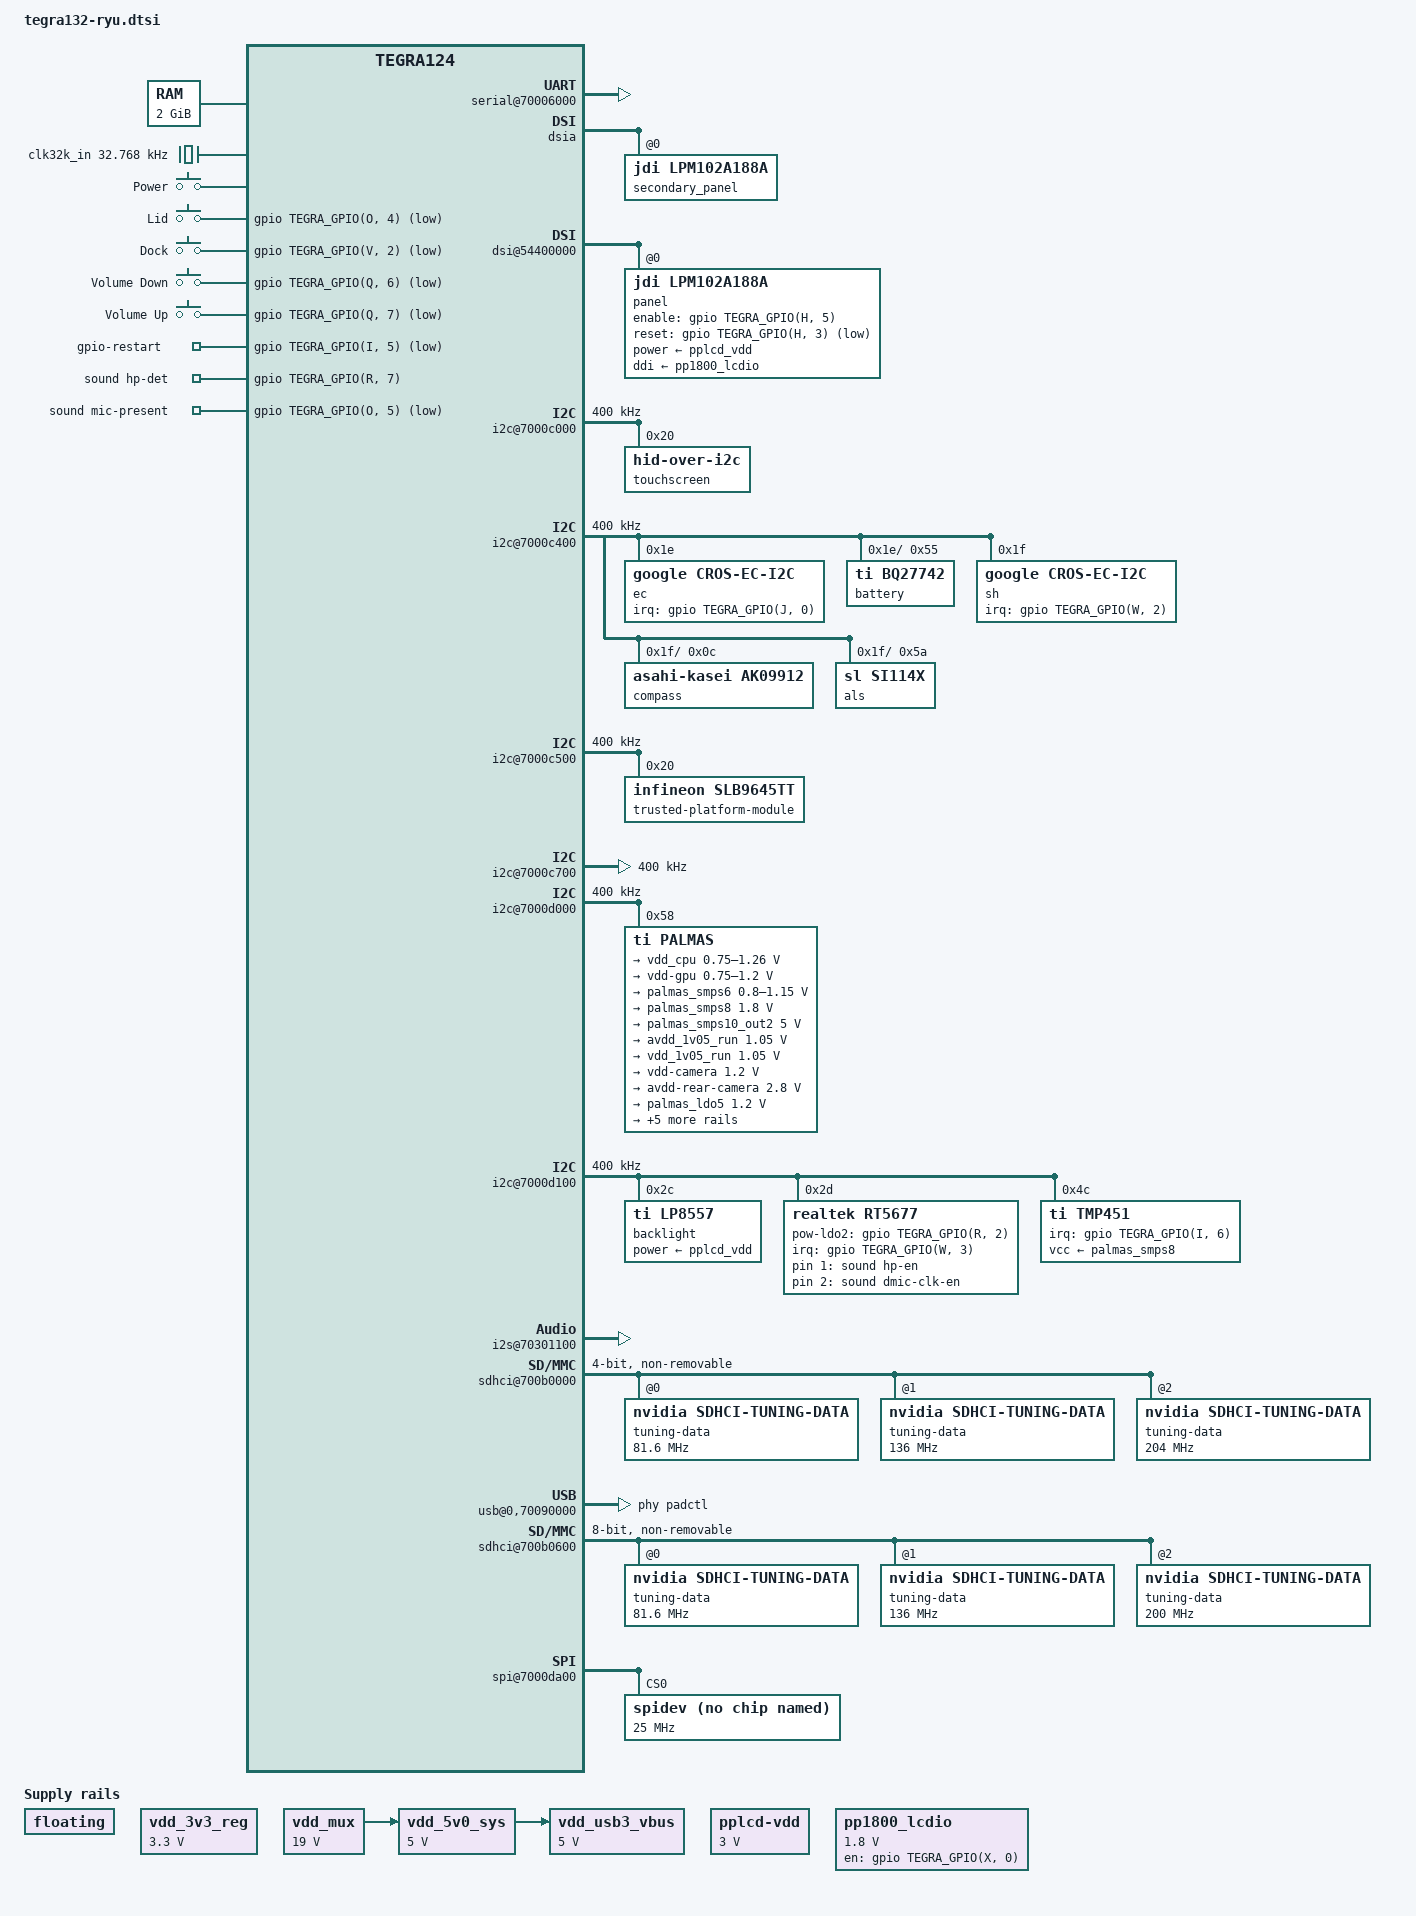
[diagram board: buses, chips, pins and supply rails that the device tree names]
#include <dt-bindings/input/input.h>
#include <dt-bindings/soc/tegra-pmc.h>
#include "tegra132.dtsi"
#include "tegra132-ryu-emc.dtsi"
#include "tegra132-ryu-gpio-default.dtsi"
#include "tegra132-ryu-pinmux.dtsi"

/ {
	compatible = "google,ryu", "nvidia,tegra132", "nvidia,tegra124";

	aliases {
		rtc0 = "/i2c@7000d000/palmas";
		rtc1 = "/rtc@7000e000";
	};

	memory {
		reg = <0x0 0x80000000 0x0 0x80000000>; /* XXX should be 4GiB */
	};

	serial@70006000 {
		status = "okay";
	};

	rtc {
		nvidia,pmc-wakeup = <&pmc
			PMC_WAKE_TYPE_EVENT 16 PMC_TRIGGER_TYPE_HIGH>;
	};

	host1x@50000000 {
		dsia: dsi@54300000 {
			status = "okay";

			secondary_panel: panel@0 {
				compatible = "jdi,lpm102a188a";

				reg = <0 0 0 0>;
			};
		};

		dsi@54400000 {
			status = "okay";
			nvidia,slave = <&dsia>;

			panel@0 {
				compatible = "jdi,lpm102a188a";

				reg = <0 0 0 0>;

				power-supply = <&pplcd_vdd>;
				ddi-supply = <&pp1800_lcdio>;

				enable-gpio = <&gpio TEGRA_GPIO(H, 5) GPIO_ACTIVE_HIGH>;
				reset-gpio = <&gpio TEGRA_GPIO(H, 3) GPIO_ACTIVE_LOW>;

				slave = <&secondary_panel>;
			};
		};
	};

	// I2C1 (GEN1_I2C)
	i2c@7000c000 {
		status = "okay";
		clock-frequency = <400000>;

		touchscreen: i2c-hid-dev@20 {
			compatible = "hid-over-i2c";
			reg = <0x20>;
			hid-descr-addr = <0x0020>;
			interrupt-parent = <&gpio>;
		};
	};

	// I2C2 (GEN2_I2C)
	i2c@7000c400 {
		status = "okay";
		clock-frequency = <400000>;

		ec: cros-ec@1e {
			compatible = "google,cros-ec-i2c";
			reg = <0x1e>;

			interrupt-parent = <&gpio>;
			interrupts = <TEGRA_GPIO(J, 0) IRQ_TYPE_LEVEL_LOW>;
			wakeup-source;

			i2c_21: i2c-tunnel {
				compatible = "google,cros-ec-i2c-tunnel";
				#address-cells = <1>;
				#size-cells = <0>;

				google,remote-bus = <0>;

				battery: bq27742@55 {
					compatible = "ti,bq27742";
					reg = <0x55>;
					battery-name = "battery";
				};
			};
		};

		sh: cros-ec@1f {
			compatible = "google,cros-ec-i2c";
			reg = <0x1f>;
			devname = "cros_sh";

			interrupt-parent = <&gpio>;
			interrupts = <TEGRA_GPIO(W, 2) IRQ_TYPE_LEVEL_LOW>;

			i2c_20: i2c-tunnel {
				compatible = "google,cros-ec-i2c-tunnel";
				#address-cells = <1>;
				#size-cells = <0>;

				google,remote-bus = <1>;

				compass: ak09912@c {
					compatible = "asahi-kasei,ak09912";
					reg = <0xc>;
				};

				als: si114x@5a {
					compatible = "sl,si114x";
					reg = <0x5a>;
				};
			};
		};
	};

	// I2C3 (CAM_I2C)
	i2c@7000c500 {
		status = "okay";
		clock-frequency = <400000>;

		trusted-platform-module {
			compatible = "infineon,slb9645tt";
			reg = <0x20>;
			powered-while-suspended;
		};
	};

	// I2C4 (HDMI_DDC)
	i2c@7000c700 {
		status = "okay";
		clock-frequency = <400000>;
	};

	// I2C5 (I2C_PMU, PWR_I2C)
	i2c@7000d000 {
		status = "okay";
		clock-frequency = <400000>;

		palmas: tps65913 {
			compatible = "ti,palmas";
			reg = <0x58>;
			interrupts = <GIC_SPI 86 IRQ_TYPE_LEVEL_LOW>;
			nvidia,pmc-wakeup = <&pmc
				PMC_WAKE_TYPE_EVENT 18 PMC_TRIGGER_TYPE_LOW>;

			#interrupt-cells = <2>;
			interrupt-controller;

			ti,system-power-controller;

			palmas_gpio: gpio {
				compatible = "ti,palmas-gpio";
				gpio-controller;
				#gpio-cells = <2>;
			};

			rtc {
				compatible = "ti,palmas-rtc";
				interrupt-parent = <&palmas>;
				interrupts = <8 0>;
			};

			pinmux {
				compatible = "ti,tps65913-pinctrl";
				pinctrl-names = "default";
				pinctrl-0 = <&palmas_default>;

				palmas_default: pinmux {
					powergood {
						pins = "powergood";
						function = "powergood";
					};

					vac {
						pins = "vac";
						function = "vac";
					};

					camera_en {
						pins = "gpio4";
						function = "gpio";
					};

					clk_mdm_32k {
						pins = "gpio5";
						function = "clk32kgaudio";
					};

					lcd_en {
						pins = "gpio6";
						function = "gpio";
					};
				};
			};

#if 0
			palmas_extcon: extcon {
				compatible = "ti,palmas-usb";
				#extcon-cells = <1>;
				ti,wakeup;
				ti,enable-id-detection;
				ti,enable-vbus-detection;
			};

			power_pm {
				compatible = "ti,palmas-pm";
				system-pmic-power-off;
				system-pmic-power-reset;
			};

			palams_gpadc: gpadc {
				compatible = "ti,palmas-gpadc";
				interrupt-parent = <&palmas>;
				interrupts = <18 0
						  16 0
						  17 0>;
				#io-channel-cells = <1>;
			};
#endif

			clock {
				compatible = "ti,palmas-clk";

				clk32k_kg {
					ti,clock-boot-enable;
				};

				clk32k_kg_audio {
					ti,clock-boot-enable;
				};
			};

			pmic {
				compatible = "ti,tps65913-pmic", "ti,palmas-pmic";
#if 0
				ldo1-in-supply = <&palmas_smps6>;
				ldo2-in-supply = <&palmas_smps6>;
				ldo5-in-supply = <&palmas_smps8>;
				ldo6-in-supply = <&palmas_smps9>;
				ldo7-in-supply = <&palmas_smps9>;
				ldo9-in-supply = <&palmas_smps9>;
				ldoln-in-supply = <&palmas_smps10_out2>;
				// TODO: From nvidia
				// 1 Program LDOUSB_OUT to 2.8V
				// 2 LDOUSB should be switched LDOUSB_IN1
#endif

				regulators {
					vdd_cpu: smps123 {
						regulator-name = "vdd_cpu";
						regulator-min-microvolt = <750000>;
						regulator-max-microvolt = <1260000>;
						regulator-always-on;
						regulator-boot-on;
						ti,roof-floor = <1>;
					};

					smps457 {
						regulator-name = "vdd-gpu";
						regulator-min-microvolt = <750000>;
						regulator-max-microvolt = <1200000>;
						regulator-init-microvolt = <1000000>;
						// TODO: driver should enable as needed
						// regulator-always-on;
						// regulator-boot-on;
					};

					palmas_smps6: smps6 {
						regulator-name = "vdd_core";
						regulator-min-microvolt = <800000>;
						regulator-max-microvolt = <1150000>;
						regulator-always-on;
						regulator-boot-on;
						ti,roof-floor = <3>;
					};

					palmas_smps8: smps8 {
						regulator-name = "vdd-1v8";
						regulator-min-microvolt = <1800000>;
						regulator-max-microvolt = <1800000>;
						regulator-always-on;
						regulator-boot-on;
					};

					palmas_smps10_out2: smps10_out2 {
						regulator-name = "vdd-out2-5v0";
						regulator-min-microvolt = <5000000>;
						regulator-max-microvolt = <5000000>;
						regulator-always-on;
						regulator-boot-on;
					};

					avdd_1v05_run: ldo1 {
						regulator-name = "avdd-pll";
						regulator-min-microvolt = <1050000>;
						regulator-max-microvolt = <1050000>;
						regulator-always-on;
						regulator-boot-on;
						ti,roof-floor = <3>;
					};

					vdd_1v05_run: ldo2 {
						regulator-name = "vdd-usb3";
						regulator-min-microvolt = <1050000>;
						regulator-max-microvolt = <1050000>;
					};

					ldo3 {
						regulator-name = "vdd-camera";
						regulator-min-microvolt = <1200000>;
						regulator-max-microvolt = <1200000>;
					};

					ldo4 {
						regulator-name = "avdd-rear-camera";
						regulator-min-microvolt = <2800000>;
						regulator-max-microvolt = <2800000>;
					};

					palmas_ldo5: ldo5 {
						regulator-name = "avdd-dsi-csi";
						regulator-min-microvolt = <1200000>;
						regulator-max-microvolt = <1200000>;
					};

					ldo6 {
						regulator-name = "vdd-fuse";
						regulator-min-microvolt = <1800000>;
						regulator-max-microvolt = <1800000>;
					};

					ldo7 {
						regulator-name = "avdd-front-camera";
						regulator-min-microvolt = <2800000>;
						regulator-max-microvolt = <2800000>;
					};

					ldo8 {
						regulator-name = "vdd-rtc";
						regulator-min-microvolt = <800000>;
						regulator-max-microvolt = <1150000>;
						regulator-always-on;
						regulator-boot-on;
					};

					palmas_ldousb: ldousb {
						regulator-name = "avdd-usb";
						regulator-always-on;
						regulator-boot-on;
					};

					regen1 {
						regulator-name = "regen1";
						regulator-always-on;
						regulator-boot-on;
					};
				};
			};
		};
	};

	// I2C6
	i2c@7000d100 {
		status = "okay";
		clock-frequency = <400000>;

		backlight: lp8557-backlight@2c {
			compatible = "ti,lp8557";
			reg = <0x2c>;

			power-supply = <&pplcd_vdd>;

			bl-name = "lp8557-backlight";
			dev-ctrl = /bits/ 8 <0x01>;
			init-brt = /bits/ 8 <0xFF>;

			/* Full scale current, 20mA */
			rom_11h {
				rom-addr = /bits/ 8 <0x11>;
				rom-val = /bits/ 8 <0x05>;
			};

			/* Frequency = 4.9kHz, magic undocumented val */
			rom_12h {
				rom-addr = /bits/ 8 <0x12>;
				rom-val = /bits/ 8 <0x29>;
			};

			/* Boost freq = 1MHz, BComp option = 1 */
			rom_13h {
				rom-addr = /bits/ 8 <0x13>;
				rom-val = /bits/ 8 <0x03>;
			};

			/* 4V OV, 6 output LED string enabled */
			rom_14h {
				rom-addr = /bits/ 8 <0x14>;
				rom-val = /bits/ 8 <0xbf>;
			};
		};

		rt5677: audio-codec@2d {
			compatible = "realtek,rt5677";
			reg = <0x2d>;
			interrupt-parent = <&gpio>;
			interrupts = <TEGRA_GPIO(W, 3) IRQ_TYPE_EDGE_BOTH>;
			realtek,pow-ldo2-gpio = <&gpio TEGRA_GPIO(R, 2) GPIO_ACTIVE_HIGH>;
			realtek,in1-differential = "true";

			gpio-controller;
			#gpio-cells = <2>;
		};

		tmp451: temperature-sensor@4c {
			compatible = "ti,tmp451";
			reg = <0x4c>;
			interrupt-parent = <&gpio>;
			interrupts = <TEGRA_GPIO(I, 6) IRQ_TYPE_LEVEL_LOW>;
			vcc-supply = <&palmas_smps8>;

			#thermal-sensor-cells = <1>;
		};
	};

	ahub@70300000 {
		i2s@70301100 {
			status = "okay";
		};
	};

	dfll@70040084 {
		vdd-cpu-supply = <&vdd_cpu>;
		nvidia,i2c-fs-rate = <400000>;
		status = "okay";
	};

	sdhci@700b0000 {
		#address-cells = <1>;
		#size-cells = <0>;

		card-reset-gpios = <&gpio TEGRA_GPIO(X, 7) GPIO_ACTIVE_LOW>;
		bus-width = <4>;
		no-1-8-v;
		non-removable;
		status = "okay";
		nvidia,host-off-card-on;
		keep-power-in-suspend;
		tap-delay = <0>;

		trim-delay = <0x2>;
		calib-3v3-offsets = <0x7676>;
		calib-1v8-offsets = <0x7676>;
		calib-1v8-offsets-uhs-modes = <0x3f>;
		max-frequency = <204000000>;

		nvidia,vmax = <1150>;
		nvidia,vmin = <950>;
		nvidia,t2t-vnom-slope = <25>;
		nvidia,t2t-vnom-int = <115933>;
		nvidia,t2t-vmax-slope = <25>;
		nvidia,t2t-vmax-int = <115933>;
		nvidia,t2t-vmin-slope = <47>;
		nvidia,t2t-vmin-int = <187224>;

		tuning-data@0 {
			compatible = "nvidia,sdhci-tuning-data";
			clock-frequency = <81600000>;
			nvidia,thole-vnom-slope = <2916>;
			nvidia,thole-vnom-int = <331143>;
			nvidia,thole-vmax-slope = <2916>;
			nvidia,thole-vmax-int = <331143>;
			nvidia,thole-vmin-slope = <1480>;
			nvidia,thole-vmin-int = <232373>;
		};
		tuning-data@1 {
			compatible = "nvidia,sdhci-tuning-data";
			clock-frequency = <136000000>;
			nvidia,thole-vnom-slope = <1554>;
			nvidia,thole-vnom-int = <167210>;
			nvidia,thole-vmax-slope = <1554>;
			nvidia,thole-vmax-int = <167210>;
			nvidia,thole-vmin-slope = <793>;
			nvidia,thole-vmin-int = <115672>;
		};
		tuning-data@2 {
			compatible = "nvidia,sdhci-tuning-data";
			clock-frequency = <204000000>;
			nvidia,thole-vnom-slope = <874>;
			nvidia,thole-vnom-int = <85243>;
			nvidia,thole-vmax-slope = <874>;
			nvidia,thole-vmax-int = <85243>;
			nvidia,thole-vmin-slope = <449>;
			nvidia,thole-vmin-int = <57321>;
		};
	};

	usb@0,70090000 {
		status = "okay";
		phys = <&padctl TEGRA_XUSB_PADCTL_UTMI_P0>, /* USB 2.0 to port */
		       <&padctl TEGRA_XUSB_PADCTL_UTMI_P2>, /* WWAN USB 2.0 */
		       <&padctl TEGRA_XUSB_PADCTL_USB3_P0>, /* 1st USB 3.0 */
		       <&padctl TEGRA_XUSB_PADCTL_USB3_P1>; /* 2nd USB 3.0 */
		phy-names = "utmi-0", "utmi-2", "usb3-0", "usb3-1";
		avddio-pex-supply = <&vdd_1v05_run>;
		dvddio-pex-supply = <&vdd_1v05_run>;
		avdd-usb-supply = <&vdd_3v3_reg>;
		avdd-pll-utmip-supply = <&palmas_smps8>;
		avdd-pll-erefe-supply = <&avdd_1v05_run>;
		avdd-pex-pll-supply = <&vdd_1v05_run>;
		hvdd-pex-supply = <&vdd_3v3_reg>;
		hvdd-pex-plle-supply = <&vdd_3v3_reg>;
	};

	padctl@0,7009f000 {
		pinctrl-0 = <&padctl_default>;
		pinctrl-1 = <&padctl_sleep>;
		pinctrl-names = "default", "sleep";

		vbus-2-supply = <&vdd_usb3_vbus>;
		nvidia,usb3-port-0-lane = <TEGRA_XUSB_PADCTL_PIN_PCIE_0>;
		nvidia,usb3-port-1-lane = <TEGRA_XUSB_PADCTL_PIN_SATA_0>;

		padctl_default: pinmux {
			otg {
				nvidia,lanes = "otg-0", "otg-1", "otg-2";
				nvidia,function = "xusb";
			};

			usb3p0 {
				nvidia,lanes = "pcie-0";
				nvidia,function = "usb3";
				nvidia,iddq = <0>;
				nvidia,usb2-port-num = <0>;
			};

			usb3p1 {
				nvidia,lanes = "sata-0";
				nvidia,function = "usb3";
				nvidia,iddq = <0>;
				nvidia,usb2-port-num = <0>;
			};
		};

		padctl_sleep: pinmux {
		};
	};

	sdhci@700b0600 {
		power-gpios = <&gpio TEGRA_GPIO(R, 0) GPIO_ACTIVE_HIGH>;
		bus-width = <8>;
		non-removable;
		status = "okay";

		trim-delay = <0x4>;
		ddr-trim-delay = <0x0>;
		calib-3v3-offsets = <0x0202>;
		calib-1v8-offsets = <0x0202>;
		calib-1v8-offsets-uhs-modes = <0x3f>;
		max-frequency = <200000000>;

		nvidia,vmax = <1150>;
		nvidia,vmin = <950>;
		nvidia,t2t-vnom-slope = <27>;
		nvidia,t2t-vnom-int = <118295>;
		nvidia,t2t-vmax-slope = <27>;
		nvidia,t2t-vmax-int = <118295>;
		nvidia,t2t-vmin-slope = <48>;
		nvidia,t2t-vmin-int = <188148>;

		tuning-data@0 {
			compatible = "nvidia,sdhci-tuning-data";
			clock-frequency = <81600000>;
			nvidia,thole-vnom-slope = <3090>;
			nvidia,thole-vnom-int = <351666>;
			nvidia,thole-vmax-slope = <3090>;
			nvidia,thole-vmax-int = <351666>;
			nvidia,thole-vmin-slope = <1583>;
			nvidia,thole-vmin-int = <247913>;
		};
		tuning-data@1 {
			compatible = "nvidia,sdhci-tuning-data";
			clock-frequency = <136000000>;
			nvidia,thole-vnom-slope = <1703>;
			nvidia,thole-vnom-int = <186307>;
			nvidia,thole-vmax-slope = <1703>;
			nvidia,thole-vmax-int = <186307>;
			nvidia,thole-vmin-slope = <890>;
			nvidia,thole-vmin-int = <130617>;
		};
		tuning-data@2 {
			compatible = "nvidia,sdhci-tuning-data";
			clock-frequency = <200000000>;
			nvidia,thole-vnom-slope = <1037>;
			nvidia,thole-vnom-int = <106934>;
			nvidia,thole-vmax-slope = <1037>;
			nvidia,thole-vmax-int = <106934>;
			nvidia,thole-vmin-slope = <558>;
			nvidia,thole-vmin-int = <74315>;
		};
	};

	spi@7000da00 {
		status = "okay";
		spidev@0 {
			compatible = "spidev";
			reg = <0>;
			spi-max-frequency = <25000000>;
		};
	};

	pmc@7000e400 {
		nvidia,invert-interrupt;
		nvidia,suspend-mode = <0>;
		#wake-cells = <3>;
		nvidia,cpu-pwr-good-time = <500>;
		nvidia,cpu-pwr-off-time = <300>;
		nvidia,core-pwr-good-time = <641 3845>;
		nvidia,core-pwr-off-time = <61036>;
		nvidia,core-power-req-active-high;
		nvidia,sys-clock-req-active-high;

		i2c-thermtrip {
			nvidia,pmu = <&palmas>;
			nvidia,reg-addr = <0xa0>;
			nvidia,reg-data = <0x0>;
		};
	};

	clocks {
		compatible = "simple-bus";
		#address-cells = <1>;
		#size-cells = <0>;

		clk32k_in: clock@0 {
			compatible = "fixed-clock";
			reg=<0>;
			#clock-cells = <0>;
			clock-frequency = <32768>;
		};
	};

	gpio-keys {
		compatible = "gpio-keys";

		power {
			label = "Power";
			linux,code = <KEY_POWER>;
			debounce-interval = <30>;
			gpio-key,wakeup;
			nvidia,pmc-wakeup = <&pmc
				PMC_WAKE_TYPE_GPIO 51 PMC_TRIGGER_TYPE_NONE>;
		};

		lid {
			label = "Lid";
			gpios = <&gpio TEGRA_GPIO(O, 4) GPIO_ACTIVE_LOW>;
			linux,input-type = <5>; /* EV_SW */
			linux,code = <0>; /* SW_LID */
			gpio-key,wakeup;
			nvidia,pmc-wakeup = <&pmc
				PMC_WAKE_TYPE_GPIO 32 PMC_TRIGGER_TYPE_NONE>;
		};

		dock {
			label = "Dock";
			gpios = <&gpio TEGRA_GPIO(V, 2) GPIO_ACTIVE_LOW>;
			linux,input-type = <5>; /* EV_SW */
			linux,code = <5>; /* SW_DOCK */
			gpio-key,wakeup;
			nvidia,pmc-wakeup = <&pmc
				PMC_WAKE_TYPE_GPIO 56 PMC_TRIGGER_TYPE_NONE>;
		};

		volume_down {
			label = "Volume Down";
			gpios = <&gpio TEGRA_GPIO(Q, 6) GPIO_ACTIVE_LOW>;
			linux,code = <KEY_VOLUMEDOWN>;
			gpio-key,wakeup;
		};

		volume_up {
			label = "Volume Up";
			gpios = <&gpio TEGRA_GPIO(Q, 7) GPIO_ACTIVE_LOW>;
			linux,code = <KEY_VOLUMEUP>;
			gpio-key,wakeup;
		};
	};

	regulators {
		compatible = "simple-bus";
		#address-cells = <1>;
		#size-cells = <0>;

		floating: regulator@0 {
			compatible = "regulator-fixed";
			reg = <0>;
			regulator-name = "floating";
		};

		vdd_3v3_reg: regulator@1 {
			compatible = "regulator-fixed";
			reg = <1>;
			regulator-name = "vdd_3v3";
			regulator-min-microvolt = <3300000>;
			regulator-max-microvolt = <3300000>;
			regulator-always-on;
			regulator-boot-on;
			enable-active-high;
			// gpio = <&as3722 1 GPIO_ACTIVE_HIGH>;
		};

		vdd_mux: regulator@2 {
			compatible = "regulator-fixed";
			reg = <2>;
			regulator-name = "+VDD_MUX";
			regulator-min-microvolt = <19000000>;
			regulator-max-microvolt = <19000000>;
			regulator-always-on;
			regulator-boot-on;
		};

		vdd_5v0_sys: regulator@3 {
			compatible = "regulator-fixed";
			reg = <3>;
			regulator-name = "+5V_SYS";
			regulator-min-microvolt = <5000000>;
			regulator-max-microvolt = <5000000>;
			regulator-always-on;
			regulator-boot-on;
			vin-supply = <&vdd_mux>;
		};

		vdd_usb3_vbus: regulator@4 {
			compatible = "regulator-fixed";
			reg = <4>;
			regulator-name = "+5V_USB_HS";
			regulator-min-microvolt = <5000000>;
			regulator-max-microvolt = <5000000>;
			regulator-always-on;
			regulator-boot-on;
			vin-supply = <&vdd_5v0_sys>;
		};

		fixed-regulator@5 {
			compatible = "regulator-fixed";
			reg = <5>;
			regulator-name = "pplcd-vdd";
			regulator-min-microvolt = <3000000>;
			regulator-max-microvolt = <3000000>;
			enable-active-high;
			regulator-boot-on;
		};

		pp1800_lcdio: fixed-regulator@6 {
			compatible = "regulator-fixed";
			reg = <6>;
			regulator-name = "pp1800-lcdio";
			regulator-min-microvolt = <1800000>;
			regulator-max-microvolt = <1800000>;
			enable-active-high;
			gpio = <&gpio TEGRA_GPIO(X, 0) GPIO_ACTIVE_HIGH>;
			regulator-boot-on;
		};
	};

	gpio-restart {
		compatible = "gpio-restart";
		gpios = <&gpio TEGRA_GPIO(I, 5) GPIO_ACTIVE_LOW>;
		priority = /bits/ 8 <200>;
	};

	sound {
		compatible = "nvidia,tegra-audio-rt5677-ryu",
		        "nvidia,tegra-audio-rt5677";
		nvidia,model = "NVIDIA Tegra Ryu";

		nvidia,audio-routing =
			"Headphone", "LOUT2",
			"Headphone", "LOUT1",
			"Headset Mic", "MICBIAS1",
			"IN1P", "Headset Mic",
			"IN1N", "Headset Mic",
			"DMIC L1", "Internal Mic 1",
			"DMIC R1", "Internal Mic 1",
			"DMIC L2", "Internal Mic 2",
			"DMIC R2", "Internal Mic 2",
			"Speaker", "PDM1L",
			"Speaker", "PDM1R";

		nvidia,i2s-controller = <&tegra_i2s1>;
		nvidia,audio-codec = <&rt5677>;

		nvidia,hp-det-gpios = <&gpio TEGRA_GPIO(R, 7) GPIO_ACTIVE_HIGH>;
		nvidia,mic-present-gpios = <&gpio TEGRA_GPIO(O, 5) GPIO_ACTIVE_LOW>;
		nvidia,hp-en-gpios = <&rt5677 1 GPIO_ACTIVE_HIGH>;
		nvidia,dmic-clk-en-gpios = <&rt5677 2 GPIO_ACTIVE_HIGH>;

		clocks = <&tegra_car TEGRA124_CLK_PLL_A>,
		         <&tegra_car TEGRA124_CLK_PLL_A_OUT0>,
		         <&tegra_car TEGRA124_CLK_EXTERN1>;
		clock-names = "pll_a", "pll_a_out0", "mclk";
	};

	soctherm: soctherm@0,700e2000 {
		throttle-cfgs {
			/* Voltage compartor NCS2202 connect to OC1 */
			oc1 {
				alarm-filter = <5100000>;
				alarm-cnt-threshold = <100>;
				polarity = <1>; /* ACTIVE_LOW */
				priority = <70>;
				cpu-throt-level = <TEGRA_SOCTHERM_THROT_LEVEL_MED>;
			};

			/* Battery charger BQ24773 PROCHOT connect to OC4 */
			oc4 {
				alarm-filter = <5100000>;
				alarm-cnt-threshold = <15>;
				polarity = <1>; /* ACTIVE_LOW */
				priority = <50>;
				cpu-throt-level = <TEGRA_SOCTHERM_THROT_LEVEL_LOW>;
			};
		};
	};

	cpu_edp: cpu_edp {
		compatible = "nvidia,tegra132-cpu-edp";
		nvidia,edp-limit = <15000>;
	};

	cpu_edp_cap: cpu_edp_cdev_cap {
		compatible = "nvidia,tegra132-cpu-edp-cdev-action";
		act-dev = <&cpu_edp>;
		cdev-type = "CPU-EDP-cap";

		#cooling-cells = <2>; /* min followed by max */
	};
};
